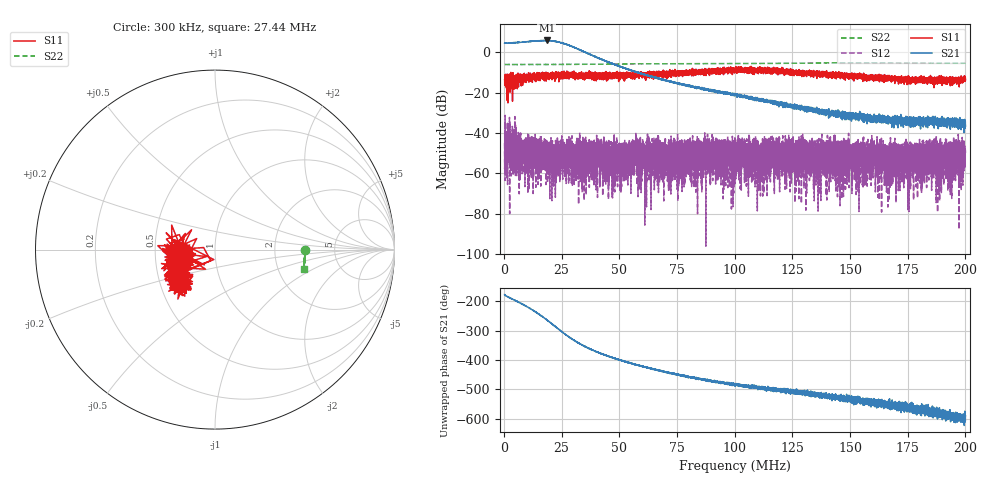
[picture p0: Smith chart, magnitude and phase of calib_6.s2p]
# Hz S DB R 50
! CMT, M5065, 19127446, 24.2.4/2
! Date: 11/8/2024 3:35:56 PM
! Data: Format (Calibration Info)
! Freq	S11:dB/Ang(F2)	S21:dB/Ang(F2)	S12:dB/Ang(F2)	S22:dB/Ang(F2)
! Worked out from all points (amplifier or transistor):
!   9000 points, 300 kHz to 200 MHz, reference 50 ohm
!   highest |S21| = 5.9 dB at 18.54 MHz (marker M1)
!   |S21| within 3 dB of that: start of sweep to 29.51 MHz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
!   unconditionally stable (mu >= 1): start of sweep to end of sweep
!   at 33.59 MHz: K = 185.97, MAG = 2.5 dB, |S12| = -55.6 dB
!   at 100.2 MHz: K = 1454.07, MAG = -18.8 dB, |S12| = -52.4 dB
!   at 200 MHz: K = 6816.30, MAG = -34.5 dB, |S12| = -49.9 dB
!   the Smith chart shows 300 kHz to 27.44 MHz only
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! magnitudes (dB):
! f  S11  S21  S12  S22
! 300 kHz  -13.6  4.7  -44.9  -6.0
! 14.26 MHz  -12.6  5.6  -51.4  -6.0
! 18.54 MHz  -10.1  5.9  -50.8  -6.0
! 33.59 MHz  -11.5  0.9  -55.6  -5.9
! 66.87 MHz  -12.1  -13.0  -55.0  -5.6
! 81.25 MHz  -9.4  -16.8  -53.2  -5.6
! 83.21 MHz  -8.7  -17.3  -46.7  -5.6
! 87.25 MHz  -9.9  -17.8  -57.6  -5.6
! 95.7 MHz  -8.2  -19.7  -50.0  -5.6
! 97.21 MHz  -8.7  -20.6  -45.3  -5.6
! 100.2 MHz  -9.5  -20.7  -52.4  -5.6
! 133.4 MHz  -10.1  -28.2  -46.0  -5.3
! 143.7 MHz  -11.8  -30.8  -57.5  -5.2
! 146.7 MHz  -10.8  -33.4  -49.1  -5.2
! 159.9 MHz  -13.8  -33.4  -47.4  -5.2
! 166.7 MHz  -13.5  -32.0  -57.5  -5.2
! 181.9 MHz  -12.6  -33.4  -58.0  -5.3
! 184.6 MHz  -13.8  -33.6  -45.7  -5.3
! 188.8 MHz  -13.3  -35.2  -72.1  -5.3
! 190.6 MHz  -12.9  -36.3  -53.0  -5.3
! 198 MHz  -13.8  -36.6  -55.5  -5.4
! 200 MHz  -13.6  -36.2  -49.9  -5.4
